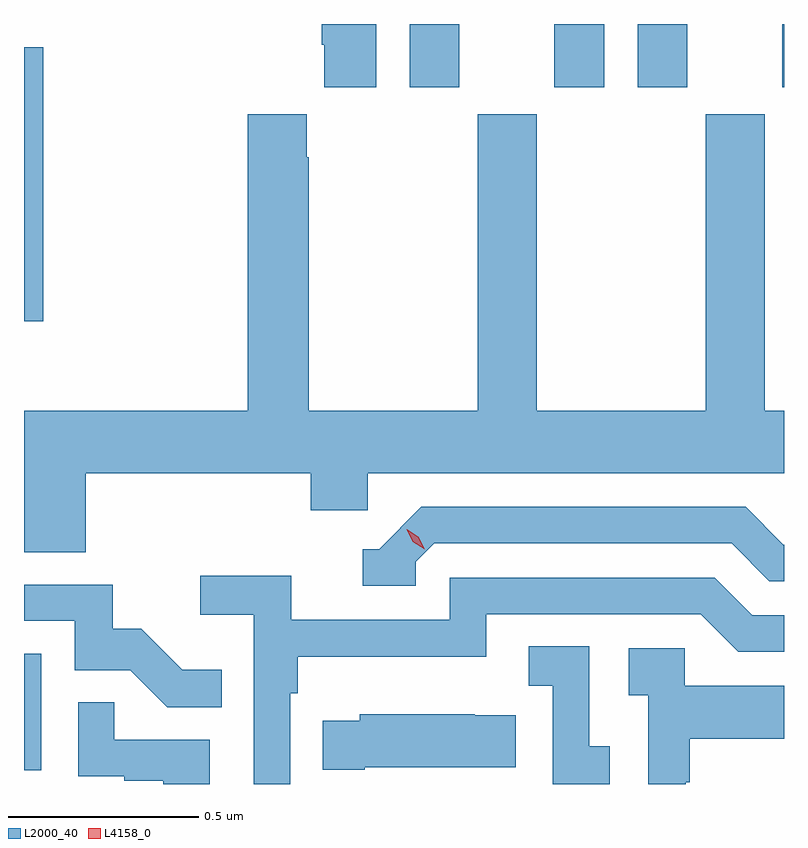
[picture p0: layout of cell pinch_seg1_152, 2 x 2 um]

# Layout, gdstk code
import gdstk
lib = gdstk.Library(unit=1e-6, precision=1e-09)
def R(c, l, rs):  # rectangles x0, y0, x1, y1
    for r in rs: c.add(gdstk.rectangle(r[:2], r[2:], *l))
def P(c, l, *ps):  # polygons
    for p in ps: c.add(gdstk.Polygon(p, *l))
L2000_40 = (2000, 40)
L4158_0 = (4158, 0)

pinch_seg1_152 = lib.new_cell('pinch_seg1_152')
R(pinch_seg1_152, L2000_40, [(1120.261,561.606,1120.306,561.913), (1120.261,562.788,1120.312,563.509), (1121.276,563.403,1121.407,563.57), (1121.657,563.403,1121.788,563.57), (1121.876,563.403,1122.007,563.57), (1122.257,563.403,1122.261,563.57)])
P(pinch_seg1_152, L2000_40, [(1121.188,563.57),(1121.045,563.57),(1121.045,563.515),(1121.051,563.515),(1121.051,563.403),(1121.188,563.403)],
  [(1120.424,562.388),(1121.015,562.388),(1121.015,562.29),(1121.166,562.29),(1121.166,562.388),(1122.261,562.388),(1122.261,562.552),(1122.21,562.552),(1122.21,563.332),(1122.055,563.332),(1122.055,562.552),(1121.61,562.552),(1121.61,563.332),(1121.455,563.332),(1121.455,562.552),(1121.01,562.552),(1121.01,563.219),(1121.005,563.219),(1121.005,563.332),(1120.85,563.332),(1120.85,562.552),(1120.261,562.552),(1120.261,562.18),(1120.424,562.18)],
  [(1121.292,562.155),(1121.34,562.203),(1122.123,562.203),(1122.222,562.104),(1122.261,562.104),(1122.261,562.2),(1122.259,562.2),(1122.16,562.299),(1121.307,562.299),(1121.196,562.188),(1121.153,562.188),(1121.153,562.092),(1121.292,562.092)],
  [(1120.962,561.809),(1120.982,561.809),(1120.982,561.905),(1121.478,561.905),(1121.478,562.017),(1122.042,562.017),(1122.141,561.918),(1122.261,561.918),(1122.261,562.014),(1122.178,562.014),(1122.079,562.113),(1121.382,562.113),(1121.382,562.002),(1120.964,562.002),(1120.964,562.118),(1120.725,562.118),(1120.725,562.016),(1120.866,562.016),(1120.866,561.57),(1120.962,561.57)],
  [(1120.781,561.871),(1120.677,561.871),(1120.57,561.978),(1120.494,561.978),(1120.494,562.095),(1120.261,562.095),(1120.261,561.999),(1120.395,561.999),(1120.395,561.87),(1120.54,561.87),(1120.638,561.772),(1120.781,561.772)],
  [(1121.803,561.669),(1121.748,561.669),(1121.748,561.932),(1121.589,561.932),(1121.589,561.829),(1121.652,561.829),(1121.652,561.57),(1121.803,561.57)],
  [(1122.003,561.575),(1122.013,561.575),(1122.013,561.689),(1122.261,561.689),(1122.261,561.829),(1122,561.829),(1122,561.927),(1121.853,561.927),(1121.853,561.803),(1121.904,561.803),(1121.904,561.57),(1122.003,561.57)],
  [(1120.75,561.687),(1120.499,561.687),(1120.499,561.785),(1120.404,561.785),(1120.404,561.591),(1120.525,561.591),(1120.525,561.579),(1120.628,561.579),(1120.628,561.57),(1120.75,561.57)],
  [(1121.158,561.614),(1121.555,561.614),(1121.555,561.751),(1121.447,561.751),(1121.447,561.754),(1121.145,561.754),(1121.145,561.736),(1121.047,561.736),(1121.047,561.607),(1121.158,561.607)])
P(pinch_seg1_152, L4158_0, [(1121.316,562.188),(1121.284,562.208),(1121.268,562.24),(1121.268,562.241),(1121.268,562.241),(1121.299,562.221),(1121.316,562.188),(1121.316,562.188)])

lib.write_gds('pinch_seg1_152.gds')
